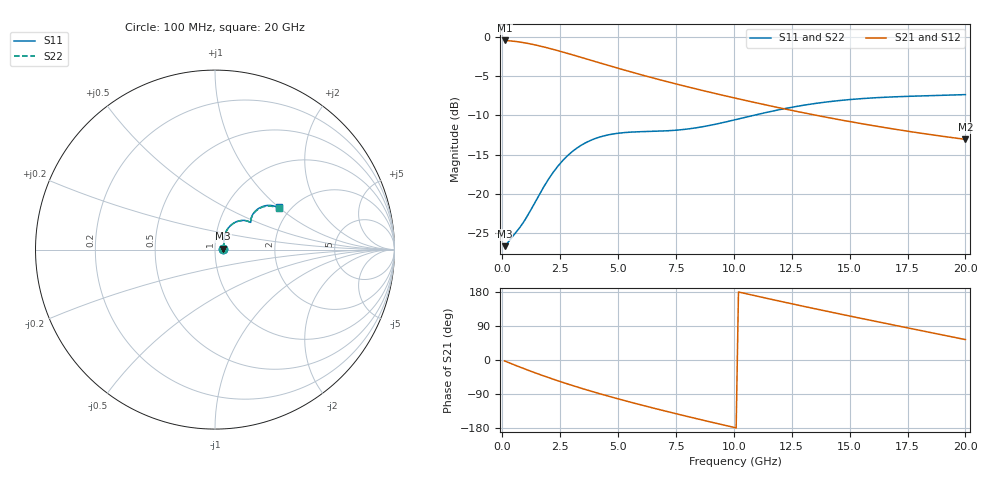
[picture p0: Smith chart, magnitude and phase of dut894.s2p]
! Touchstone file exported from HFSS 2024.1.0
!  File:  C:/UserFiles/LocalFiles/RDL_TSV_Batchsim/temp_RDL_TSV_894_1779933010.aedt
!  Generated:  10:08:06 AM May 28, 2026
!  Design:  RDL_TSV
!  Project:  temp_RDL_TSV_894_1779933010
!  Setup:  Setup1
!  Solution:  Sweep
! Variables:
!  dtsv = 12.19um
!  hbump = 3um
!  htsv = 66.18um
!  ldown = 675.04um
!  lrdl = 624.07um
!  p = 40
!  p1 = 44.98um
!  rhole = 10um
!  subl = 4521.4um
!  t = 450um
!  tdown = 2.63um
!  trdl = 2.16um
!  viad = 10um
!  wdown = 29.79um
!  wrdl = 10.55um
!  xbump = 18um
# GHz S MA R 50.000000
! Terminal data exported
! Port[1] = TM1_1_T1
! Port[2] = TM1_4_T1
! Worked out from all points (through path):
!   200 points, 100 MHz to 20 GHz, reference 50 ohm
!   highest |S21| = -0.41 dB at 100 MHz (marker M1); lowest = -13.1 dB at 20 GHz (marker M2)
!   group delay of S21, straight-line fit = 40.6 ps
!   lowest |S11| = -26.7 dB at 100 MHz (marker M3), VSWR 1.10, Z = 54.8 + j0.617 ohm
!   |S11| at or under -10 dB: start of sweep to 10.84 GHz
!   |S22| runs from -26.7 to -7.4 dB; largest |S21 - S12| = 7.3e-14
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0.1  0.04612 7.0  0.9539 -2.5  0.9539 -2.5  0.04612 7.0
! Gamma 0 0 0 0
! Port Impedance 50 0 50 0
0.5  0.05442 26.6  0.9429 -12.4  0.9429 -12.4  0.05444 26.6
0.9  0.06513 41.0  0.9247 -22.0  0.9247 -22.0  0.06516 40.9
1.4  0.08722 53.7  0.8945 -33.4  0.8945 -33.4  0.08719 53.5
1.8  0.1111 58.0  0.8664 -42.2  0.8664 -42.2  0.1109 57.9
2.2  0.137 58.6  0.8364 -50.7  0.8364 -50.7  0.1367 58.4
2.6  0.1621 56.9  0.8055 -58.9  0.8055 -58.9  0.1617 56.8
3  0.1846 54.2  0.7746 -66.7  0.7746 -66.7  0.1841 54.0
3.5  0.2076 50.3  0.7366 -76.2  0.7366 -76.2  0.2071 50.1
4.3  0.2321 44.4  0.6793 -90.6  0.6793 -90.6  0.2315 44.2
5.1  0.2442 40.1  0.6273 -104.2  0.6273 -104.2  0.2435 39.9
5.9  0.2487 37.7  0.5809 -117.1  0.5809 -117.1  0.248 37.6
6.8  0.251 37.4  0.5348 -131.1  0.5348 -131.1  0.2503 37.2
7.6  0.2551 38.6  0.4986 -143.2  0.4986 -143.2  0.2544 38.4
8.4  0.2639 40.5  0.466 -155.0  0.466 -155.0  0.2631 40.2
10.1  0.2978 43.4  0.4067 -179.1  0.4067 -179.1  0.2966 43.1
11.7  0.3378 43.2  0.3606 159.0  0.3606 159.0  0.336 42.8
13.4  0.375 40.8  0.3201 136.6  0.3201 136.6  0.3725 40.4
15  0.3994 37.9  0.2889 116.1  0.2889 116.1  0.3962 37.6
16.7  0.4144 35.4  0.2617 94.8  0.2617 94.8  0.4106 35.1
18.3  0.4223 34.0  0.2407 75.0  0.2407 75.0  0.4181 33.7
20  0.4297 33.6  0.2222 53.8  0.2222 53.8  0.4251 33.4
